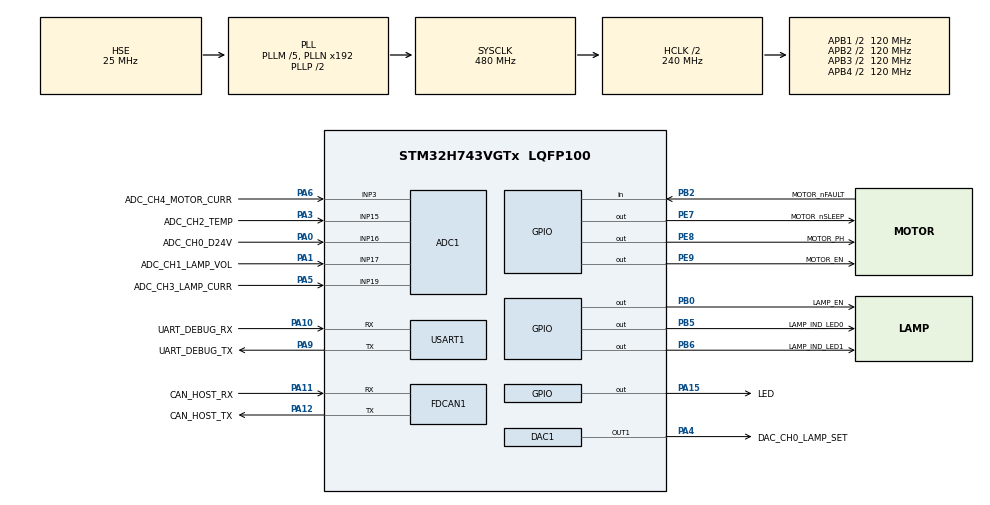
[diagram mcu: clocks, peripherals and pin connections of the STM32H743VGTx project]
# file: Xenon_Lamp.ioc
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ADC1.Channel-4\#ChannelRegularConversion=ADC_CHANNEL_16
ADC1.Channel-5\#ChannelRegularConversion=ADC_CHANNEL_17
ADC1.Channel-6\#ChannelRegularConversion=ADC_CHANNEL_15
ADC1.Channel-7\#ChannelRegularConversion=ADC_CHANNEL_19
ADC1.Channel-8\#ChannelRegularConversion=ADC_CHANNEL_3
ADC1.ContinuousConvMode=ENABLE
ADC1.ConversionDataManagement=ADC_CONVERSIONDATA_DMA_ONESHOT
ADC1.EOCSelection=ADC_EOC_SEQ_CONV
ADC1.NbrOfConversion=5
ADC1.NbrOfConversionFlag=1
ADC1.OffsetNumber-4\#ChannelRegularConversion=ADC_OFFSET_NONE
ADC1.OffsetNumber-5\#ChannelRegularConversion=ADC_OFFSET_NONE
ADC1.OffsetNumber-6\#ChannelRegularConversion=ADC_OFFSET_NONE
ADC1.OffsetNumber-7\#ChannelRegularConversion=ADC_OFFSET_NONE
ADC1.OffsetNumber-8\#ChannelRegularConversion=ADC_OFFSET_NONE
ADC1.OffsetSignedSaturation-4\#ChannelRegularConversion=DISABLE
ADC1.OffsetSignedSaturation-5\#ChannelRegularConversion=DISABLE
ADC1.OffsetSignedSaturation-6\#ChannelRegularConversion=DISABLE
ADC1.OffsetSignedSaturation-7\#ChannelRegularConversion=DISABLE
ADC1.OffsetSignedSaturation-8\#ChannelRegularConversion=DISABLE
ADC1.Overrun=ADC_OVR_DATA_OVERWRITTEN
ADC1.Rank-4\#ChannelRegularConversion=1
ADC1.Rank-5\#ChannelRegularConversion=2
ADC1.Rank-6\#ChannelRegularConversion=3
ADC1.Rank-7\#ChannelRegularConversion=4
ADC1.Rank-8\#ChannelRegularConversion=5
ADC1.SamplingTime-4\#ChannelRegularConversion=ADC_SAMPLETIME_64CYCLES_5
ADC1.SamplingTime-5\#ChannelRegularConversion=ADC_SAMPLETIME_64CYCLES_5
ADC1.SamplingTime-6\#ChannelRegularConversion=ADC_SAMPLETIME_64CYCLES_5
ADC1.SamplingTime-7\#ChannelRegularConversion=ADC_SAMPLETIME_64CYCLES_5
ADC1.SamplingTime-8\#ChannelRegularConversion=ADC_SAMPLETIME_64CYCLES_5
ADC1.master=1
CORTEX_M7.AccessPermission-Cortex_Memory_Protection_Unit_Region0_Settings=MPU_REGION_FULL_ACCESS
CORTEX_M7.BaseAddress-Cortex_Memory_Protection_Unit_Region0_Settings=0x24000000
CORTEX_M7.CPU_DCache=Enabled
CORTEX_M7.CPU_ICache=Enabled
CORTEX_M7.Enable-Cortex_Memory_Protection_Unit_Region0_Settings=MPU_REGION_ENABLE
CORTEX_M7.MPU_Control=MPU_PRIVILEGED_DEFAULT
CORTEX_M7.Size-Cortex_Memory_Protection_Unit_Region0_Settings=MPU_REGION_SIZE_512KB
DAC1.DAC_Channel-DAC_OUT1=DAC_CHANNEL_1
Dma.ADC1.0.Direction=DMA_PERIPH_TO_MEMORY
Dma.ADC1.0.EventEnable=DISABLE
Dma.ADC1.0.FIFOMode=DMA_FIFOMODE_DISABLE
Dma.ADC1.0.Instance=DMA1_Stream0
Dma.ADC1.0.MemDataAlignment=DMA_MDATAALIGN_HALFWORD
Dma.ADC1.0.MemInc=DMA_MINC_ENABLE
Dma.ADC1.0.Mode=DMA_CIRCULAR
Dma.ADC1.0.PeriphDataAlignment=DMA_PDATAALIGN_HALFWORD
Dma.ADC1.0.PeriphInc=DMA_PINC_DISABLE
Dma.ADC1.0.Polarity=HAL_DMAMUX_REQ_GEN_RISING
Dma.ADC1.0.Priority=DMA_PRIORITY_LOW
Dma.ADC1.0.RequestNumber=1
Dma.ADC1.0.SignalID=NONE
Dma.ADC1.0.SyncEnable=DISABLE
Dma.ADC1.0.SyncPolarity=HAL_DMAMUX_SYNC_NO_EVENT
Dma.ADC1.0.SyncRequestNumber=1
Dma.ADC1.0.SyncSignalID=NONE
Dma.Request0=ADC1
FDCAN1.CalculateBaudRateNominal=1000000
FDCAN1.CalculateTimeBitNominal=1000
FDCAN1.CalculateTimeQuantumNominal=25.0
FDCAN1.DataSyncJumpWidth=8
FDCAN1.DataTimeSeg1=31
FDCAN1.DataTimeSeg2=8
FDCAN1.NominalPrescaler=1
FDCAN1.NominalSyncJumpWidth=8
FDCAN1.NominalTimeSeg1=31
FDCAN1.NominalTimeSeg2=8
FDCAN1.RxFifo0ElmtsNbr=64
FDCAN1.StdFiltersNbr=1
FDCAN1.TxFifoQueueElmtsNbr=32
IWDG1.Prescaler=IWDG_PRESCALER_32
IWDG1.Reload=100
IWDG1.Window=100
Mcu.Family=STM32H7
Mcu.Name=STM32H743VGTx
Mcu.Package=LQFP100
NVIC.DMA1_Stream0_IRQn=true\:0\:0\:false\:false\:true\:false\:true\:true
NVIC.PriorityGroup=NVIC_PRIORITYGROUP_4
NVIC.USART1_IRQn=true\:0\:0\:false\:false\:true\:true\:true\:true
PA0.GPIO_Label=ADC_CH0_D24V
PA0.Mode=IN16-Single-Ended
PA0.Signal=ADC1_INP16
PA1.GPIO_Label=ADC_CH1_LAMP_VOL
PA1.Mode=IN17-Single-Ended
PA1.Signal=ADC1_INP17
PA10.GPIO_Label=UART_DEBUG_RX
PA10.Mode=Asynchronous
PA10.Signal=USART1_RX
PA11.GPIO_Label=CAN_HOST_RX
PA11.Mode=FDCAN_Activate
PA11.Signal=FDCAN1_RX
PA12.GPIO_Label=CAN_HOST_TX
PA12.Mode=FDCAN_Activate
PA12.Signal=FDCAN1_TX
PA13\ (JTMS/SWDIO).Mode=Serial_Wire
PA13\ (JTMS/SWDIO).Signal=DEBUG_JTMS-SWDIO
PA14\ (JTCK/SWCLK).Mode=Serial_Wire
PA14\ (JTCK/SWCLK).Signal=DEBUG_JTCK-SWCLK
PA15\ (JTDI).GPIO_Label=LED
PA15\ (JTDI).GPIO_PuPd=GPIO_PULLUP
PA15\ (JTDI).Signal=GPIO_Output
PA3.GPIO_Label=ADC_CH2_TEMP
PA3.Signal=ADCx_INP15
PA4.GPIO_Label=DAC_CH0_LAMP_SET
PA4.Signal=COMP_DAC11_group
PA5.GPIO_Label=ADC_CH3_LAMP_CURR
PA5.Signal=ADCx_INP19
PA6.GPIO_Label=ADC_CH4_MOTOR_CURR
PA6.Signal=ADCx_INP3
PA9.GPIO_Label=UART_DEBUG_TX
PA9.Mode=Asynchronous
PA9.Signal=USART1_TX
PB0.GPIO_Label=LAMP_EN
PB0.Signal=GPIO_Output
PB2.GPIO_Label=MOTOR_nFAULT
PB2.Signal=GPIO_Input
PB5.GPIO_Label=LAMP_IND_LED0
PB5.Signal=GPIO_Output
PB6.GPIO_Label=LAMP_IND_LED1
PB6.Signal=GPIO_Output
PE7.GPIO_Label=MOTOR_nSLEEP
PE7.GPIO_Speed=GPIO_SPEED_FREQ_LOW
PE7.PinState=GPIO_PIN_SET
PE7.Signal=GPIO_Output
PE8.GPIO_Label=MOTOR_PH
PE8.Signal=GPIO_Output
PE9.GPIO_Label=MOTOR_EN
PE9.Signal=GPIO_Output
PH0-OSC_IN\ (PH0).Mode=HSE-External-Oscillator
PH0-OSC_IN\ (PH0).Signal=RCC_OSC_IN
PH1-OSC_OUT\ (PH1).Mode=HSE-External-Oscillator
PH1-OSC_OUT\ (PH1).Signal=RCC_OSC_OUT
ProjectManager.HeapSize=0x200
ProjectManager.StackSize=0x400
ProjectManager.TargetToolchain=STM32CubeIDE
RCC.ADC12Freq_Value=120000000
RCC.ADCFreq_Value=50000000
RCC.AHBFreq_Value=120000000
RCC.APB1Freq_Value=120000000
RCC.APB1TimFreq_Value=120000000
RCC.APB2Freq_Value=120000000
RCC.APB2TimFreq_Value=120000000
RCC.APB3Freq_Value=120000000
RCC.APB4Freq_Value=120000000
RCC.CKPERSourceSelection=RCC_CLKPSOURCE_HSE
RCC.CortexFreq_Value=480000000
RCC.D1PPRE=RCC_APB3_DIV2
RCC.D2PPRE1=RCC_APB1_DIV2
RCC.D2PPRE2=RCC_APB2_DIV2
RCC.D3PPRE=RCC_APB4_DIV2
RCC.DIVM1=5
RCC.DIVM2=5
RCC.DIVM3=5
RCC.DIVN1=192
RCC.DIVN2=160
RCC.DIVN3=192
RCC.DIVP2=16
RCC.DIVQ1=8
RCC.DIVQ2=20
RCC.EXTERNAL_CLOCK_VALUE=12288000
RCC.EnbaleCSS=false
RCC.FDCANCLockSelection=RCC_FDCANCLKSOURCE_PLL2
RCC.HCLKFreq_Value=240000000
RCC.HPRE=RCC_HCLK_DIV2
RCC.HSE_VALUE=25000000
RCC.HSI48_VALUE=48000000
RCC.HSI_VALUE=16000000
RCC.LSE_VALUE=32768
RCC.PLL3_VCI_Range-AdvancedSettings=RCC_PLL3VCIRANGE_0
RCC.PLLM=RCC_PLLM_DIV5
RCC.PLLN=48
RCC.PLLQ=RCC_PLLQ_DIV6
RCC.PLLSourceVirtual=RCC_PLLSOURCE_HSE
RCC.PWR_Regulator_Voltage_Scale=PWR_REGULATOR_VOLTAGE_SCALE0
RCC.ProductRev=revV
RCC.RCC_TIM_PRescaler_Selection=RCC_TIMPRES_DESACTIVATED
RCC.SYSCLKFreq_VALUE=480000000
RCC.SYSCLKSource=RCC_SYSCLKSOURCE_PLLCLK
RCC.SupplySource=PWR_LDO_SUPPLY
RCC.USBFreq_Value=120000000
RCC.VCOOutputFreq_Value=240000000
SH.ADCx_INP15.0=ADC1_INP15,IN15-Single-Ended
SH.ADCx_INP19.0=ADC1_INP19,IN19-Single-Ended
SH.ADCx_INP3.0=ADC1_INP3,IN3-Single-Ended
SH.COMP_DAC11_group.0=DAC1_OUT1,DAC_OUT1
USART1.VirtualMode-Asynchronous=VM_ASYNC
VP_IWDG1_VS_IWDG.Mode=IWDG_Activate
board=custom

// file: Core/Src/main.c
/* USER CODE BEGIN Header */
/**
  ******************************************************************************
  * @file           : main.c
  * @brief          : Main program body
  ******************************************************************************
  * @attention
  *
  * Copyright (c) 2025 STMicroelectronics.
  * All rights reserved.
  *
  * This software is licensed under terms that can be found in the LICENSE file
  * in the root directory of this software component.
  * If no LICENSE file comes with this software, it is provided AS-IS.
  *
  ******************************************************************************
  */
/* USER CODE END Header */
#include "main.h"
#include "adc.h"
#include "dac.h"
#include "dma.h"
#include "fdcan.h"
#include "iwdg.h"
#include "usart.h"
#include "gpio.h"

/* USER CODE BEGIN Includes */
#include <string.h>
#include "Can_Service.h"
#include "UserPref.h"
#include "drv8876.h"
#include "Xenon_Lamp.h"
/* USER CODE END Includes */

void SystemClock_Config(void);
void PeriphCommonClock_Config(void);
static void MPU_Config(void);

/* USER CODE BEGIN 0 */
#ifdef BOOTLOADER

/** @brief  Vector base address configuration. It should no longer be at the start of
  *         flash memory but moved forward because the first part of flash is
  *         reserved for the bootloader. Note that this is already done by the
  *         bootloader before starting this program. Unfortunately, function
  *         SystemInit() overwrites this change again.
  * @return none.
  */
static void VectorBase_Config(void)
{
    /* The constant array with vectors of the vector table is declared externally in the
     * c-startup code.
     */
    extern const unsigned long g_pfnVectors[];

    /* Remap the vector table to where the vector table is located for this program. */
    SCB->VTOR = (unsigned long)&g_pfnVectors[0];
}
#endif
/* USER CODE END 0 */

int main(void)
{
    /* USER CODE BEGIN 1 */
#ifdef BOOTLOADER
    /* Configure the vector table base address. */
    VectorBase_Config();
#endif
    /* USER CODE END 1 */

    /* MPU Configuration--------------------------------------------------------*/
    MPU_Config();

    /* Enable I-Cache---------------------------------------------------------*/
    SCB_EnableICache();

    /* Enable D-Cache---------------------------------------------------------*/
    SCB_EnableDCache();

    /* MCU Configuration--------------------------------------------------------*/

    /* Reset of all peripherals, Initializes the Flash interface and the Systick. */
    HAL_Init();

    /* Configure the system clock */
    SystemClock_Config();

    /* Configure the peripherals common clocks */
    PeriphCommonClock_Config();

    /* Initialize all configured peripherals */
    MX_GPIO_Init();
    MX_DMA_Init();
    MX_USART1_UART_Init();
    MX_DAC1_Init();
    MX_FDCAN1_Init();
    MX_ADC1_Init();
    MX_IWDG1_Init();
    /* USER CODE BEGIN 2 */
    SystemTimeBase_Initial();
    Debug_Initial();
    CAN_Initial();
    MainReg_Initial();
    /* USER CODE END 2 */

    /* Infinite loop */
    /* USER CODE BEGIN WHILE */
    EE_Read_Setting();
    DRV8876_Init();
    Xenon_Lamp_Initial();
    while (1) {
        /* USER CODE END WHILE */

        /* USER CODE BEGIN 3 */
        HAL_IWDG_Refresh(&hiwdg1);
        SystemTimeBase_Set_Handler();
        CAN_Handler();
        Debug_Handler();
        Adc_Handler();
        Xenon_Lamp_Service();
        EE_Setting_Handler();
        SystemTimeBase_Clr_Handler();
    }
    /* USER CODE END 3 */
}

void SystemClock_Config(void)
{
    RCC_OscInitTypeDef RCC_OscInitStruct = {0};
    RCC_ClkInitTypeDef RCC_ClkInitStruct = {0};

    /** Supply configuration update enable
    */
    HAL_PWREx_ConfigSupply(PWR_LDO_SUPPLY);

    /** Configure the main internal regulator output voltage
    */
    __HAL_PWR_VOLTAGESCALING_CONFIG(PWR_REGULATOR_VOLTAGE_SCALE1);

    while (!__HAL_PWR_GET_FLAG(PWR_FLAG_VOSRDY)) {}

    __HAL_RCC_SYSCFG_CLK_ENABLE();
    __HAL_PWR_VOLTAGESCALING_CONFIG(PWR_REGULATOR_VOLTAGE_SCALE0);

    while (!__HAL_PWR_GET_FLAG(PWR_FLAG_VOSRDY)) {}

    /** Initializes the RCC Oscillators according to the specified parameters
    * in the RCC_OscInitTypeDef structure.
    */
    RCC_OscInitStruct.OscillatorType = RCC_OSCILLATORTYPE_LSI | RCC_OSCILLATORTYPE_HSE;
    RCC_OscInitStruct.HSEState = RCC_HSE_ON;
    RCC_OscInitStruct.LSIState = RCC_LSI_ON;
    RCC_OscInitStruct.PLL.PLLState = RCC_PLL_ON;
    RCC_OscInitStruct.PLL.PLLSource = RCC_PLLSOURCE_HSE;
    RCC_OscInitStruct.PLL.PLLM = 5;
    RCC_OscInitStruct.PLL.PLLN = 192;
    RCC_OscInitStruct.PLL.PLLP = 2;
    RCC_OscInitStruct.PLL.PLLQ = 8;
    RCC_OscInitStruct.PLL.PLLR = 2;
    RCC_OscInitStruct.PLL.PLLRGE = RCC_PLL1VCIRANGE_2;
    RCC_OscInitStruct.PLL.PLLVCOSEL = RCC_PLL1VCOWIDE;
    RCC_OscInitStruct.PLL.PLLFRACN = 0;
    if (HAL_RCC_OscConfig(&RCC_OscInitStruct) != HAL_OK) {
        /** Deinitializes RCC and clear RCC_OscInitTypeDef structure
        */
        HAL_RCC_DeInit();
        memset(&RCC_OscInitStruct, 0x00, sizeof(RCC_OscInitStruct));
        /** Macro to configure the PLL clock source
        */
        __HAL_RCC_PLL_PLLSOURCE_CONFIG(RCC_PLLSOURCE_HSI);

        /** Initializes the RCC Oscillators according to the specified parameters
        * in the RCC_OscInitTypeDef structure.
        */
        RCC_OscInitStruct.OscillatorType = RCC_OSCILLATORTYPE_HSI | RCC_OSCILLATORTYPE_LSI;
        RCC_OscInitStruct.HSIState = RCC_HSI_DIV1;
        RCC_OscInitStruct.HSICalibrationValue = RCC_HSICALIBRATION_DEFAULT;
        RCC_OscInitStruct.LSIState = RCC_LSI_ON;
        RCC_OscInitStruct.PLL.PLLState = RCC_PLL_ON;
        RCC_OscInitStruct.PLL.PLLSource = RCC_PLLSOURCE_HSI;
        RCC_OscInitStruct.PLL.PLLM = 4;
        RCC_OscInitStruct.PLL.PLLN = 60;
        RCC_OscInitStruct.PLL.PLLP = 2;
        RCC_OscInitStruct.PLL.PLLQ = 8;
        RCC_OscInitStruct.PLL.PLLR = 2;
        RCC_OscInitStruct.PLL.PLLRGE = RCC_PLL1VCIRANGE_3;
        RCC_OscInitStruct.PLL.PLLVCOSEL = RCC_PLL1VCOWIDE;
        RCC_OscInitStruct.PLL.PLLFRACN = 0;
        if (HAL_RCC_OscConfig(&RCC_OscInitStruct) != HAL_OK) {
            Error_Handler();
        }
    }

    /** Initializes the CPU, AHB and APB buses clocks
    */
    RCC_ClkInitStruct.ClockType = RCC_CLOCKTYPE_HCLK | RCC_CLOCKTYPE_SYSCLK
                                  | RCC_CLOCKTYPE_PCLK1 | RCC_CLOCKTYPE_PCLK2
                                  | RCC_CLOCKTYPE_D3PCLK1 | RCC_CLOCKTYPE_D1PCLK1;
    RCC_ClkInitStruct.SYSCLKSource = RCC_SYSCLKSOURCE_PLLCLK;
    RCC_ClkInitStruct.SYSCLKDivider = RCC_SYSCLK_DIV1;
    RCC_ClkInitStruct.AHBCLKDivider = RCC_HCLK_DIV2;
    RCC_ClkInitStruct.APB3CLKDivider = RCC_APB3_DIV2;
    RCC_ClkInitStruct.APB1CLKDivider = RCC_APB1_DIV2;
    RCC_ClkInitStruct.APB2CLKDivider = RCC_APB2_DIV2;
    RCC_ClkInitStruct.APB4CLKDivider = RCC_APB4_DIV2;

    if (HAL_RCC_ClockConfig(&RCC_ClkInitStruct, FLASH_LATENCY_4) != HAL_OK) {
        Error_Handler();
    }
}

void PeriphCommonClock_Config(void)
{
    RCC_PeriphCLKInitTypeDef PeriphClkInitStruct = {0};

    /** Initializes the peripherals clock
    */
    if (__HAL_RCC_GET_PLL_OSCSOURCE() == RCC_PLLSOURCE_HSE) {
        PeriphClkInitStruct.PeriphClockSelection = RCC_PERIPHCLK_ADC | RCC_PERIPHCLK_FDCAN;
        PeriphClkInitStruct.PLL2.PLL2M = 5;
        PeriphClkInitStruct.PLL2.PLL2N = 160;
        PeriphClkInitStruct.PLL2.PLL2P = 16;
        PeriphClkInitStruct.PLL2.PLL2Q = 20;
        PeriphClkInitStruct.PLL2.PLL2R = 2;
        PeriphClkInitStruct.PLL2.PLL2RGE = RCC_PLL2VCIRANGE_2;
        PeriphClkInitStruct.PLL2.PLL2VCOSEL = RCC_PLL2VCOWIDE;
        PeriphClkInitStruct.PLL2.PLL2FRACN = 0;
        PeriphClkInitStruct.FdcanClockSelection = RCC_FDCANCLKSOURCE_PLL2;
        PeriphClkInitStruct.AdcClockSelection = RCC_ADCCLKSOURCE_PLL2;
    } else {
        PeriphClkInitStruct.PeriphClockSelection = RCC_PERIPHCLK_ADC | RCC_PERIPHCLK_FDCAN;
        PeriphClkInitStruct.PLL2.PLL2M = 4;
        PeriphClkInitStruct.PLL2.PLL2N = 50;
        PeriphClkInitStruct.PLL2.PLL2P = 16;
        PeriphClkInitStruct.PLL2.PLL2Q = 20;
        PeriphClkInitStruct.PLL2.PLL2R = 2;
        PeriphClkInitStruct.PLL2.PLL2RGE = RCC_PLL2VCIRANGE_3;
        PeriphClkInitStruct.PLL2.PLL2VCOSEL = RCC_PLL2VCOWIDE;
        PeriphClkInitStruct.PLL2.PLL2FRACN = 0;
        PeriphClkInitStruct.FdcanClockSelection = RCC_FDCANCLKSOURCE_PLL2;
        PeriphClkInitStruct.AdcClockSelection = RCC_ADCCLKSOURCE_PLL2;
    }
    if (HAL_RCCEx_PeriphCLKConfig(&PeriphClkInitStruct) != HAL_OK) {
        Error_Handler();
    }
}

/* MPU Configuration */

void MPU_Config(void)
{
    MPU_Region_InitTypeDef MPU_InitStruct = {0};

    /* Disables the MPU */
    HAL_MPU_Disable();

    /** Initializes and configures the Region and the memory to be protected
    */
    MPU_InitStruct.Enable = MPU_REGION_ENABLE;
    MPU_InitStruct.Number = MPU_REGION_NUMBER0;
    MPU_InitStruct.BaseAddress = 0x24000000;
    MPU_InitStruct.Size = MPU_REGION_SIZE_512KB;
    MPU_InitStruct.SubRegionDisable = 0x0;
    MPU_InitStruct.TypeExtField = MPU_TEX_LEVEL0;
    MPU_InitStruct.AccessPermission = MPU_REGION_FULL_ACCESS;
    MPU_InitStruct.DisableExec = MPU_INSTRUCTION_ACCESS_ENABLE;
    MPU_InitStruct.IsShareable = MPU_ACCESS_NOT_SHAREABLE;
    MPU_InitStruct.IsCacheable = MPU_ACCESS_NOT_CACHEABLE;
    MPU_InitStruct.IsBufferable = MPU_ACCESS_NOT_BUFFERABLE;

    HAL_MPU_ConfigRegion(&MPU_InitStruct);
    /* Enables the MPU */
    HAL_MPU_Enable(MPU_PRIVILEGED_DEFAULT);

}

void Error_Handler(void)
{
    __disable_irq();
    while (1) {
    }
}
